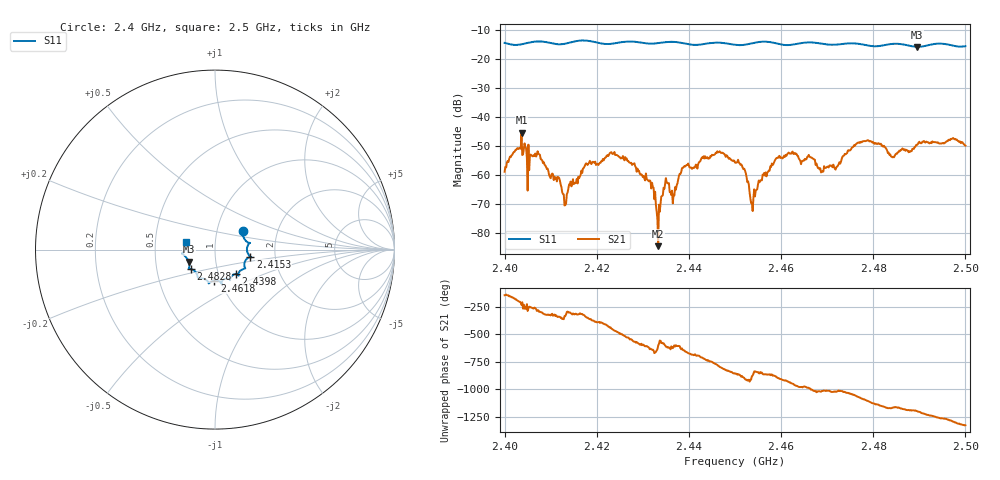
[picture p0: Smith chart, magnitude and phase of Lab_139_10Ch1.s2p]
# Hz S RI R 50
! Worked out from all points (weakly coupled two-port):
!   601 points, 2.4 GHz to 2.5 GHz, reference 50 ohm
!   highest |S21| = -45.53 dB at 2.4037 GHz (marker M1); lowest = -84.7 dB at 2.4333 GHz (marker M2)
!   lowest |S11| = -15.9 dB at 2.4895 GHz (marker M3), VSWR 1.38, Z = 37 - j5.05 ohm
!   |S11| at or under -10 dB: start of sweep to end of sweep
!   S12 and S22 are empty: the file has one direction only
!   S11 on the Smith chart (normalised r, x): 2.4 GHz: 1.33, +0.29; 2.4153 GHz: 1.48, -0.12; 2.4398 GHz: 1.21, -0.34; 2.4618 GHz: 0.94, -0.33; 2.4828 GHz: 0.74, -0.17; 2.5 GHz: 0.72, +0.06
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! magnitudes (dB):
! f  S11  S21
! 2.4 GHz  -14.5  -59.0
! 2.4037 GHz  -15.0  -45.5
! 2.4077 GHz  -14.0  -53.2
! 2.413 GHz  -14.8  -70.6
! 2.4153 GHz  -14.0  -63.0
! 2.4167 GHz  -13.7  -58.6
! 2.4262 GHz  -14.1  -53.9
! 2.4318 GHz  -14.8  -64.8
! 2.4333 GHz  -14.6  -84.7
! 2.435 GHz  -14.3  -61.2
! 2.4367 GHz  -14.2  -66.9
! 2.4398 GHz  -15.0  -56.2
! 2.45 GHz  -15.2  -55.8
! 2.4538 GHz  -14.6  -72.6
! 2.4618 GHz  -15.2  -52.7
! 2.4667 GHz  -14.4  -54.1
! 2.4687 GHz  -14.8  -59.2
! 2.4768 GHz  -14.8  -49.0
! 2.4828 GHz  -15.2  -51.1
! 2.4833 GHz  -15.0  -52.4
! 2.4895 GHz  -15.9  -49.7
! 2.5 GHz  -15.7  -50.0
